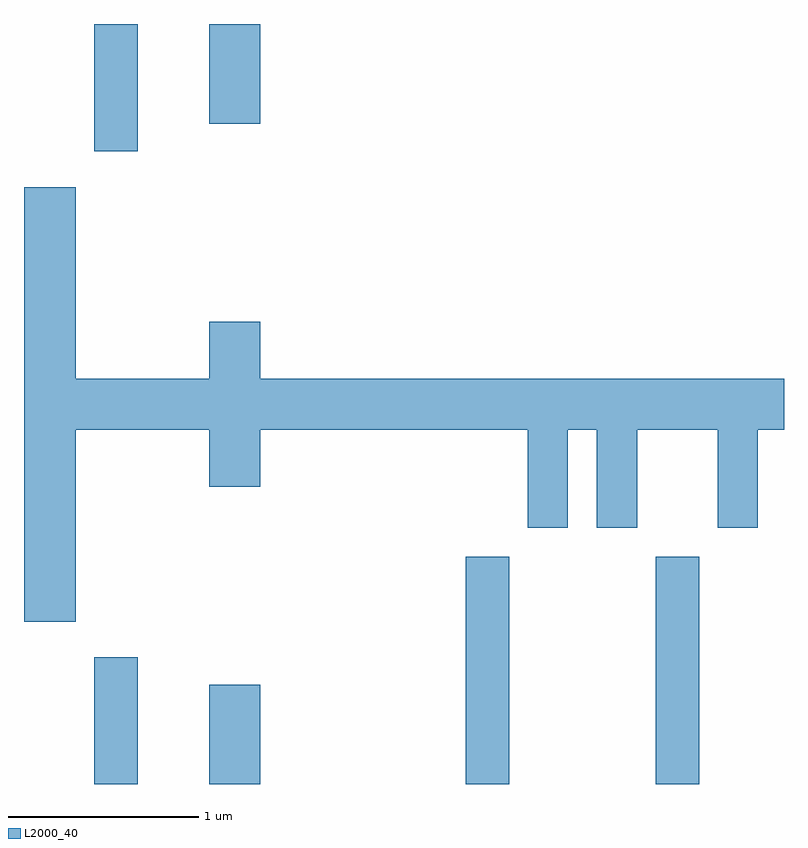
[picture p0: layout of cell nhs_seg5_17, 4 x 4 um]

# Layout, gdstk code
import gdstk
lib = gdstk.Library(unit=1e-6, precision=1e-09)
def R(c, l, rs):  # rectangles x0, y0, x1, y1
    for r in rs: c.add(gdstk.rectangle(r[:2], r[2:], *l))
def P(c, l, *ps):  # polygons
    for p in ps: c.add(gdstk.Polygon(p, *l))
L2000_40 = (2000, 40)

nhs_seg5_17 = lib.new_cell('nhs_seg5_17')
R(nhs_seg5_17, L2000_40, [(185.981,1426.072,186.209,1426.739), (186.586,1426.072,186.854,1426.594), (187.936,1426.072,188.164,1427.269), (188.936,1426.072,189.164,1427.269), (185.981,1429.401,186.209,1430.072), (186.586,1429.546,186.854,1430.072)])
P(nhs_seg5_17, L2000_40, [(185.884,1427.936),(186.586,1427.936),(186.586,1427.636),(186.854,1427.636),(186.854,1427.936),(188.261,1427.936),(188.261,1427.421),(188.474,1427.421),(188.474,1427.936),(188.626,1427.936),(188.626,1427.421),(188.839,1427.421),(188.839,1427.936),(189.261,1427.936),(189.261,1427.421),(189.474,1427.421),(189.474,1427.936),(189.611,1427.936),(189.611,1428.204),(186.854,1428.204),(186.854,1428.504),(186.586,1428.504),(186.586,1428.204),(185.884,1428.204),(185.884,1429.214),(185.611,1429.214),(185.611,1426.926),(185.884,1426.926)])

lib.write_gds('nhs_seg5_17.gds')
